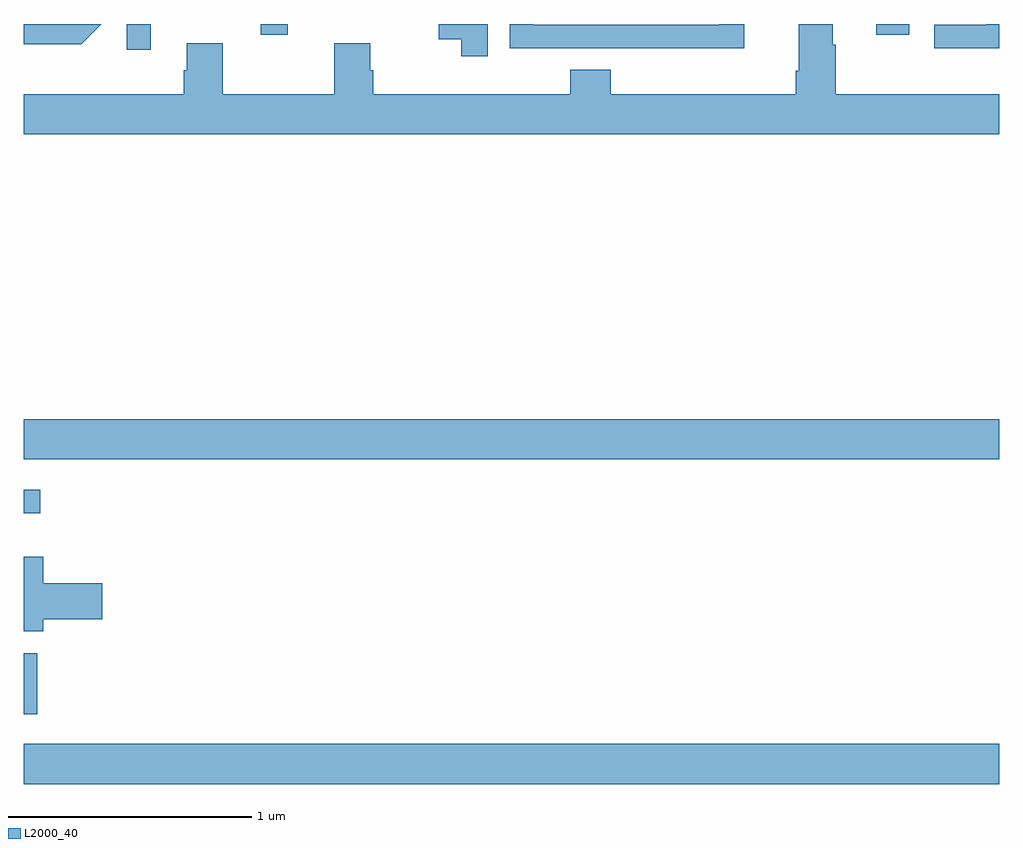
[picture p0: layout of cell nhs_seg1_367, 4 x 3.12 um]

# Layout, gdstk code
import gdstk
lib = gdstk.Library(unit=1e-6, precision=1e-09)
def R(c, l, rs):  # rectangles x0, y0, x1, y1
    for r in rs: c.add(gdstk.rectangle(r[:2], r[2:], *l))
def P(c, l, *ps):  # polygons
    for p in ps: c.add(gdstk.Polygon(p, *l))
L2000_40 = (2000, 40)

nhs_seg1_367 = lib.new_cell('nhs_seg1_367')
R(nhs_seg1_367, L2000_40, [(131,533.084,135,533.248), (131,533.37,131.057,533.619), (131,534.194,131.068,534.291), (131,534.416,135,534.58), (131.424,536.094,131.521,536.199), (131.972,536.154,132.083,536.199), (134.495,536.154,134.631,536.199)])
P(nhs_seg1_367, L2000_40, [(135,536.199),(134.946,536.199),(134.946,536.196),(134.733,536.196),(134.733,536.1),(135,536.1)],
  [(133.953,536.199),(133.852,536.199),(133.852,536.196),(133.089,536.196),(133.089,536.199),(132.993,536.199),(132.993,536.1),(133.489,536.1),(133.489,536.099),(133.953,536.099)],
  [(135,535.912),(134.33,535.912),(134.33,536.114),(134.317,536.114),(134.317,536.199),(134.177,536.199),(134.177,536.008),(134.165,536.008),(134.165,535.912),(133.406,535.912),(133.406,536.011),(133.241,536.011),(133.241,535.912),(132.434,535.912),(132.434,536.01),(132.421,536.01),(132.421,536.12),(132.274,536.12),(132.274,535.912),(131.817,535.912),(131.817,536.12),(131.669,536.12),(131.669,536.01),(131.657,536.01),(131.657,535.912),(131,535.912),(131,535.748),(135,535.748)],
  [(131.319,536.199),(131,536.199),(131,536.117),(131.236,536.117)],
  [(132.903,536.199),(132.702,536.199),(132.702,536.137),(132.795,536.137),(132.795,536.067),(132.903,536.067)],
  [(131.08,533.759),(131.323,533.759),(131.323,533.906),(131.08,533.906),(131.08,534.016),(131,534.016),(131,533.711),(131.08,533.711)])

lib.write_gds('nhs_seg1_367.gds')
